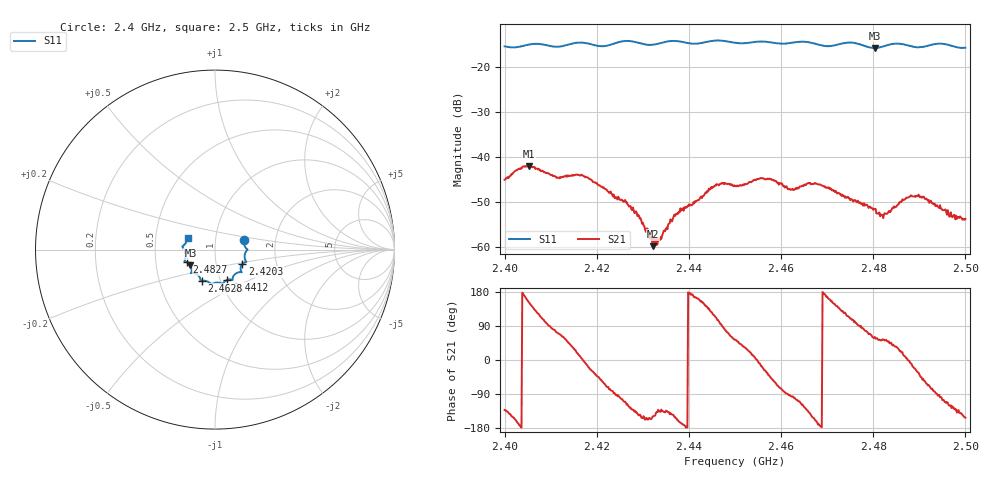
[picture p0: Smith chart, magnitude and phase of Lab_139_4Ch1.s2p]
# Hz S RI R 50
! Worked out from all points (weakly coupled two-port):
!   601 points, 2.4 GHz to 2.5 GHz, reference 50 ohm
!   highest |S21| = -41.93 dB at 2.4053 GHz (marker M1); lowest = -59.8 dB at 2.4322 GHz (marker M2)
!   lowest |S11| = -15.8 dB at 2.4803 GHz (marker M3), VSWR 1.39, Z = 37.4 - j6.77 ohm
!   |S11| at or under -10 dB: start of sweep to end of sweep
!   S12 and S22 are empty: the file has one direction only
!   S11 on the Smith chart (normalised r, x): 2.4 GHz: 1.38, +0.15; 2.4203 GHz: 1.34, -0.22; 2.4412 GHz: 1.08, -0.38; 2.4628 GHz: 0.82, -0.29; 2.4827 GHz: 0.72, -0.10; 2.5 GHz: 0.73, +0.10
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2.4e9  0.1617 0.0528  -0.00375 -0.00419  0 0  0 0
2.405333e9  0.1783 0.00282  -0.00703 0.00384  0 0  0 0
2.411667e9  0.1651 -0.0332  0.00202 0.00556  0 0  0 0
2.416667e9  0.1742 -0.069  0.00639 0.000518  0 0  0 0
2.420333e9  0.1524 -0.0794  0.00349 -0.00343  0 0  0 0
2.4265e9  0.1489 -0.1263  -0.00148 -0.0028  0 0  0 0
2.429e9  0.1378 -0.1256  -0.00188 -0.00133  0 0  0 0
2.432167e9  0.1065 -0.1415  -0.00088 -0.000532  0 0  0 0
2.433333e9  0.1002 -0.152  -0.000819 -0.000926  0 0  0 0
2.437e9  0.0979 -0.1687  -0.00195 -0.00109  0 0  0 0
2.441167e9  0.0682 -0.1686  -0.00297 0.000786  0 0  0 0
2.445833e9  0.0426 -0.1927  -0.00187 0.00446  0 0  0 0
2.45e9  0.0244 -0.1848  0.00284 0.00383  0 0  0 0
2.455833e9  -0.0193 -0.1915  0.00557 -0.00168  0 0  0 0
2.462833e9  -0.0718 -0.1737  -0.00078 -0.00428  0 0  0 0
2.466667e9  -0.0809 -0.1676  -0.00431 -0.00261  0 0  0 0
2.480333e9  -0.1371 -0.0881  0.0013 0.00232  0 0  0 0
2.482667e9  -0.1579 -0.0706  0.00144 0.00186  0 0  0 0
2.483333e9  -0.1631 -0.0683  0.00161 0.00189  0 0  0 0
2.486833e9  -0.1679 -0.0578  0.00336 0.000591  0 0  0 0
2.489833e9  -0.1643 -0.0236  0.0032 -0.00213  0 0  0 0
2.5e9  -0.1511 0.0645  -0.00183 -0.000958  0 0  0 0
